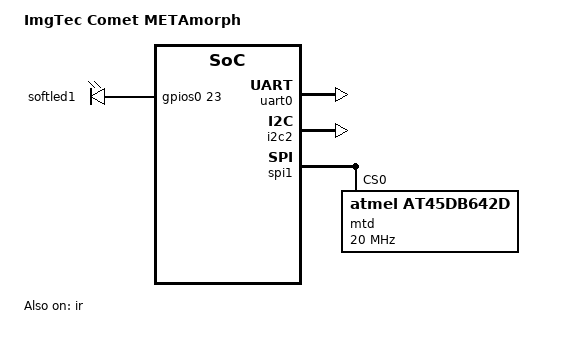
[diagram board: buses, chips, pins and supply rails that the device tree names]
/*
 * Copyright (C) 2012 Imagination Technologies Ltd.
 *
 * This program is free software; you can redistribute it and/or modify
 * it under the terms of the GNU General Public License version 2 as
 * published by the Free Software Foundation.
 */
/dts-v1/;

/include/ "tz1090.dtsi"

&xtal2 {
	clock-frequency = <12000000>;
};

&xtal3 {
	clock-frequency = <32768>;
};

&pinctrl {
	pinctrl-names = "default";
	pinctrl-0 = <	&pinctrl_spi1_cs0
			&pinctrl_tft
			&pinctrl_sdh>;
};

&uart0 {
	status = "okay";
};

&ir {
	status = "okay";
};

&i2c2 {
	bit-rate = <100000>;	/* limit for HDMI */
	status = "okay";
};

/ {
	model = "ImgTec Comet METAmorph";
	compatible =	"img,tz1090-01sp",
			"toumaz,tz1090", "img,meta";

	leds {
		compatible = "gpio-leds";
		pinctrl-names = "default";
		pinctrl-0 = <>;
		softled1 {
			label = "softled1";
			gpios = <&gpios0 23 0>;		/* uart0_rts */
			linux,default-trigger = "mmc0";
		};
	};
};

&spi1 {
	status = "okay";

	mtd@0 {
		compatible = "atmel,at45db642d", "atmel,at45", "atmel,dataflash";
		spi-max-frequency = <20000000>;
		reg = <0>; /* chip select */
	};
};
